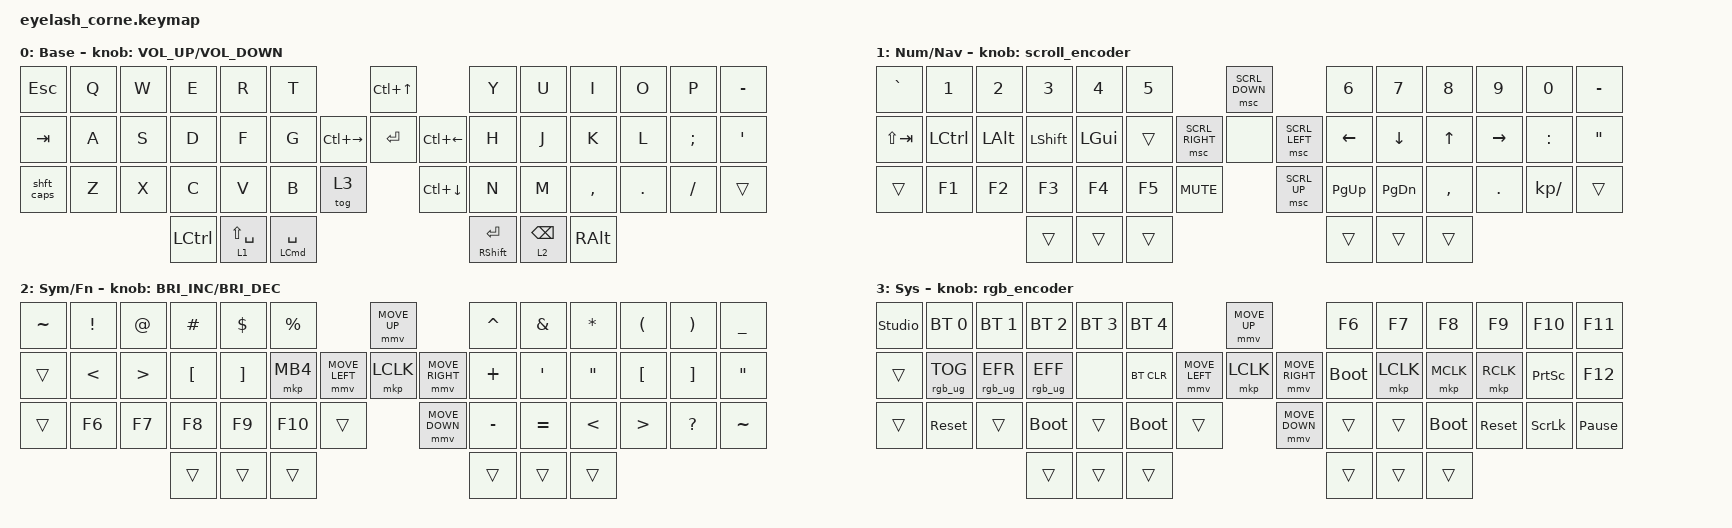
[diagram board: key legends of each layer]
#define ZMK_POINTING_DEFAULT_MOVE_VAL 1200  // 600
#define ZMK_POINTING_DEFAULT_SCRL_VAL 25   // 10

#include <input/processors.dtsi>
#include <zephyr/dt-bindings/input/input-event-codes.h>
#include <behaviors.dtsi>
#include <dt-bindings/zmk/bt.h>
#include <dt-bindings/zmk/keys.h>
#include <dt-bindings/zmk/pointing.h>
#include <dt-bindings/zmk/rgb.h>

&mmv_input_listener { input-processors = <&zip_xy_scaler 2 1>; };

&msc_input_listener { input-processors = <&zip_scroll_scaler 2 1>; };

&msc {
    acceleration-exponent = <1>;      // 0
    time-to-max-speed-ms = <100>;       // 300
    delay-ms = <0>;                   // 0
};

&mmv {
    time-to-max-speed-ms = <500>;
    acceleration-exponent = <1>;
    trigger-period-ms = <16>;
};

/ {
    behaviors {
        shft_caps: shft_caps {
            compatible = "zmk,behavior-tap-dance";
            display-name = "Shift/Caps Lock Tap Dance";
            #binding-cells = <0>;
            bindings = <&kp LEFT_SHIFT>, <&kp CAPS>;

            label = "shft_caps";
        };

        mod_tap_1: mod_tap_1 {
            compatible = "zmk,behavior-hold-tap";
            label = "MOD_TAP_1";
            bindings = <&kp>, <&kp>;

            #binding-cells = <2>;
            tapping-term-ms = <200>;
            quick-tap-ms = <170>;
            flavor = "tap-preferred";
        };

        layer_tap: layer_tap {
            compatible = "zmk,behavior-hold-tap";
            label = "LAYER_TAP";
            bindings = <&mo>, <&kp>;

            #binding-cells = <2>;
            tapping-term-ms = <200>;
            quick-tap-ms = <175>;
            flavor = "balanced";
        };

        mod_tap_2: mod_tap_2 {
            compatible = "zmk,behavior-hold-tap";
            label = "MOD_TAP_2";
            bindings = <&kp>, <&kp>;

            #binding-cells = <2>;
            tapping-term-ms = <200>;
            quick-tap-ms = <170>;
            flavor = "tap-unless-interrupted";
        };
    };

    rgb_encoder: rgb_encoder {
        compatible = "zmk,behavior-sensor-rotate";
        #sensor-binding-cells = <0>;
        bindings = <&rgb_ug RGB_BRI>, <&rgb_ug RGB_BRD>;
    };

    scroll_encoder: scroll_encoder {
        compatible = "zmk,behavior-sensor-rotate";
        #sensor-binding-cells = <0>;
        bindings = <&msc SCRL_DOWN>, <&msc SCRL_UP>;

        tap-ms = <100>;
    };

    keymap {
        compatible = "zmk,keymap";

        Base {
            display-name = "Base";
            bindings = <
&kp ESC     &kp Q  &kp W  &kp E      &kp R                   &kp T                                           &kp LC(UP)                  &kp Y             &kp U                   &kp I      &kp O    &kp P     &kp MINUS
&kp TAB     &kp A  &kp S  &kp D      &kp F                   &kp G                            &kp LC(RIGHT)  &kp ENTER     &kp LC(LEFT)  &kp H             &kp J                   &kp K      &kp L    &kp SEMI  &kp SQT
&shft_caps  &kp Z  &kp X  &kp C      &kp V                   &kp B                  &tog 3                   &kp LC(DOWN)                &kp N             &kp M                   &kp COMMA  &kp DOT  &kp FSLH  &trans
                          &kp LCTRL  &layer_tap 1 LS(SPACE)  &mod_tap_1 LCMD SPACE                                                       &mt RSHIFT ENTER  &layer_tap 2 BACKSPACE  &kp RALT
            >;

            sensor-bindings = <&inc_dec_kp C_VOLUME_UP C_VOLUME_DOWN>;
        };

        Num-Navi {
            display-name = "Num/Nav";
            bindings = <
&kp GRAVE    &kp N1     &kp N2    &kp N3     &kp N4    &kp N5                                 &msc SCRL_DOWN                  &kp N6     &kp N7     &kp N8     &kp N9     &kp N0        &kp MINUS
&kp LS(TAB)  &kp LCTRL  &kp LALT  &kp LSHFT  &kp LGUI  &trans                &msc SCRL_RIGHT  &none           &msc SCRL_LEFT  &kp LEFT   &kp DOWN   &kp UP     &kp RIGHT  &kp COLON     &kp DOUBLE_QUOTES
&trans       &kp F1     &kp F2    &kp F3     &kp F4    &kp F5  &kp C_MUTE                     &msc SCRL_UP                    &kp PG_UP  &kp PG_DN  &kp COMMA  &kp DOT    &kp KP_SLASH  &trans
                                  &trans     &trans    &trans                                                                 &trans     &trans     &trans
            >;

            sensor-bindings = <&scroll_encoder>;
        };

        Sym-Func {
            display-name = "Sym/Fn";
            bindings = <
&kp TILDE  &kp EXCL       &kp AT            &kp HASH  &kp DLLR  &kp PRCNT                            &mmv MOVE_UP                     &kp CARET  &kp AMPS          &kp STAR           &kp LPAR  &kp RPAR   &kp UNDER
&trans     &kp LESS_THAN  &kp GREATER_THAN  &kp LBKT  &kp RBKT  &mkp MB4             &mmv MOVE_LEFT  &mkp LCLK       &mmv MOVE_RIGHT  &kp PLUS   &kp SINGLE_QUOTE  &kp DOUBLE_QUOTES  &kp LBKT  &kp RBKT   &kp DQT
&trans     &kp F6         &kp F7            &kp F8    &kp F9    &kp F10    &trans                    &mmv MOVE_DOWN                   &kp MINUS  &kp EQUAL         &kp LT             &kp GT    &kp QMARK  &kp TILDE
                                            &trans    &trans    &trans                                                                &trans     &trans            &trans
            >;

            sensor-bindings = <&inc_dec_kp C_BRIGHTNESS_INC C_BRIGHTNESS_DEC>;
        };

        System {
            display-name = "Sys";
            bindings = <
&studio_unlock  &bt BT_SEL 0     &bt BT_SEL 1     &bt BT_SEL 2     &bt BT_SEL 3  &bt BT_SEL 4                            &mmv MOVE_UP                     &kp F6       &kp F7     &kp F8       &kp F9      &kp F10          &kp F11
&trans          &rgb_ug RGB_TOG  &rgb_ug RGB_EFR  &rgb_ug RGB_EFF  &none         &bt BT_CLR              &mmv MOVE_LEFT  &mkp LCLK       &mmv MOVE_RIGHT  &bootloader  &mkp LCLK  &mkp MCLK    &mkp RCLK   &kp PRINTSCREEN  &kp F12
&trans          &sys_reset       &trans           &bootloader      &trans        &bootloader   &trans                    &mmv MOVE_DOWN                   &trans       &trans     &bootloader  &sys_reset  &kp SCROLLLOCK   &kp PAUSE_BREAK
                                                  &trans           &trans        &trans                                                                   &trans       &trans     &trans
            >;

            sensor-bindings = <&rgb_encoder>;
        };
    };
};
